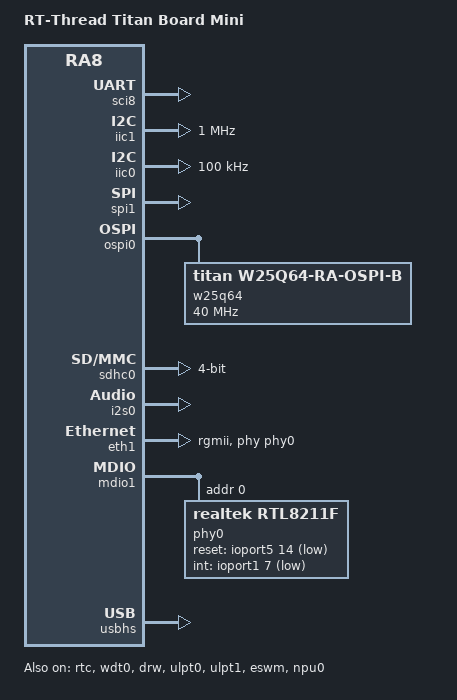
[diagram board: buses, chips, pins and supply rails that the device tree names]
/*
 * Copyright (c) 2026 RT-Thread
 * SPDX-License-Identifier: Apache-2.0
 *
 * Titan Board Mini - CM85 Board DTS
 */

/dts-v1/;

#include <renesas/ra/ra8/r7ka8p1kflcac_cm85.dtsi>
#include <zephyr/dt-bindings/pwm/pwm.h>
#include "titan_board_mini.dtsi"

/ {
	model = "RT-Thread Titan Board Mini";
	compatible = "renesas,ra8p1", "renesas,ra8";

	chosen {
		zephyr,sram = &sram0;
		zephyr,flash = &code_mram_cm85;
		zephyr,flash-controller = &mram_ctrl;
		zephyr,code-partition = &slot0_partition;
		zephyr,console = &uart8;
		zephyr,shell-uart = &uart8;
		zephyr,entropy = &trng;
	};
};

/* === Console UART (SCI8) — J-Link VCOM === */
&sci8 {
	pinctrl-0 = <&sci8_default>;
	pinctrl-names = "default";
	interrupts = <0 12>, <1 12>, <2 12>, <3 12>;
	interrupt-names = "rxi", "txi", "tei", "eri";
	status = "okay";

	uart8: uart {
		current-speed = <115200>;
		status = "okay";
	};
};

/* === System I2C (IIC1): EEPROM, sensors === */
&iic1 {
	#address-cells = <1>;
	#size-cells = <0>;
	clock-frequency = <I2C_BITRATE_FAST_PLUS>;
	pinctrl-0 = <&iic1_default>;
	pinctrl-names = "default";
	interrupts = <16 12>, <17 12>, <18 12>, <19 12>;
	interrupt-names = "rxi", "txi", "tei", "eri";
	status = "okay";
};

/* === I2C0: IMU (P0.13=SCL, P1.09=SDA) === */
&iic0 {
	#address-cells = <1>;
	#size-cells = <0>;
	clock-frequency = <I2C_BITRATE_STANDARD>;
	pinctrl-0 = <&iic0_default>;
	pinctrl-names = "default";
	interrupts = <12 12>, <13 12>, <14 12>, <15 12>;
	interrupt-names = "rxi", "txi", "tei", "eri";
	status = "okay";
};

/* === SPI1: 40pin header, CE0=P1.05 GPIO chip-select === */
&spi1 {
	cs-gpios = <&ioport1 5 GPIO_ACTIVE_LOW>;
	pinctrl-0 = <&spi1_default>;
	pinctrl-names = "default";
	interrupts = <8 12>, <9 12>, <10 12>, <11 12>;
	interrupt-names = "rxi", "txi", "tei", "eri";
	status = "okay";
};

/* === OSPI_B CS1: onboard Winbond W25Q64 8 MiB SPI NOR === */
&octaspiclk {
	clocks = <&pllq>;
	div = <10>;
	status = "okay";
};

&{/soc} {
	ospi0: ospi@40268000 {
		compatible = "renesas,ra-ospi-b";
		reg = <0x40268000 0x19c>;
		#address-cells = <1>;
		#size-cells = <1>;
		clocks = <&octaspiclk MSTPB 16>;
		pinctrl-0 = <&ospi0_w25q64_default>;
		pinctrl-names = "default";
		status = "okay";

		w25q64: flash@90000000 {
			compatible = "titan,w25q64-ra-ospi-b";
			reg = <0x90000000 DT_SIZE_M(8)>;
			jedec-id = [ef 40 17];
			spi-max-frequency = <DT_FREQ_M(40)>;
			page-size = <256>;
			erase-block-size = <4096>;
			write-block-size = <1>;
			status = "okay";
		};
	};
};

/* === RTC === */
&rtc {
	interrupts = <35 12>, <36 12>, <37 12>;
	interrupt-names = "cup", "prd", "alm";
	status = "okay";
};

/* === Watchdog === */
&wdt0 {
	status = "okay";
};

/* === SDHI0: MicroSD Card === */
&sdhc0 {
	pinctrl-0 = <&sdhc0_default>;
	pinctrl-names = "default";
	interrupts = <32 4>, <33 4>, <34 4>;
	interrupt-names = "accs", "card", "dma_req";
	bus-width = <4>;
	card-detect;
	status = "okay";
};

/* === I2S0: Audio DAC (ES8156) === */
&i2s0 {
	pinctrl-0 = <&i2s0_default>;
	pinctrl-names = "default";
	interrupts = <20 12>;
	interrupt-names = "ssi_txi";
	status = "okay";
};

/* === Ethernet (RTL8211F PHY on RGMII) === */
&eth1 {
	phy-connection-type = "rgmii";
	local-mac-address = [74 90 50 01 02 03];
	phy-clock-type = "xtal";
	phy-handle = <&phy0>;
	pinctrl-0 = <&eth1_default>;
	pinctrl-names = "default";
	status = "okay";
};

&mdio1 {
	pinctrl-0 = <&mdio1_default>;
	pinctrl-names = "default";
	status = "okay";

	phy0: phy@0 {
		compatible = "realtek,rtl8211f";
		reg = <0>;
		reset-gpios = <&ioport5 14 GPIO_ACTIVE_LOW>;
		int-gpios = <&ioport1 7 GPIO_ACTIVE_LOW>;
		status = "okay";
	};
};

/* === USBHS (Device/Host) === */
&usbhs {
	interrupts = <23 12>;
	interrupt-names = "usbhs-ir";
	status = "okay";

	zephyr_udc0: udc {
		status = "okay";
	};
};

/* === DRW (2D Drawing Engine, for LVGL acceleration) === */
&drw {
	interrupt-names = "drw";
	interrupts = <31 12>;
	status = "okay";
};

/* === Flash Partitions === */
&code_mram_cm85 {
	partitions {
		ranges;
		#address-cells = <1>;
		#size-cells = <1>;

		boot_partition: partition@0 {
			compatible = "zephyr,mapped-partition";
			label = "mcuboot";
			reg = <0x0 DT_SIZE_K(64)>;
		};

		slot0_partition: partition@10000 {
			compatible = "zephyr,mapped-partition";
			label = "image-0";
			reg = <0x10000 DT_SIZE_K(344)>;
		};

		slot1_partition: partition@66000 {
			compatible = "zephyr,mapped-partition";
			label = "image-1";
			reg = <0x66000 DT_SIZE_K(344)>;
		};

		storage_partition: partition@bc000 {
			compatible = "zephyr,mapped-partition";
			label = "storage";
			reg = <0xbc000 DT_SIZE_K(16)>;
		};
	};
};

/* === ULPT timers (low power) === */
&ulpt0 {
	interrupts = <19 1>;
	interrupt-names = "ulpti";
	status = "okay";

	timer {
		status = "okay";
	};
};

&ulpt1 {
	status = "okay";

	timer {
		status = "okay";
	};
};

/* === Ethernet Switch Manager === */
&eswm {
	interrupts = <24 1>;
	interrupt-names = "gwdi";
	status = "okay";
};

/* === Ethos-U55 NPU === */
&npu0 {
	interrupts = <95 1>;
	interrupt-names = "npu-irq";
	status = "okay";
};
